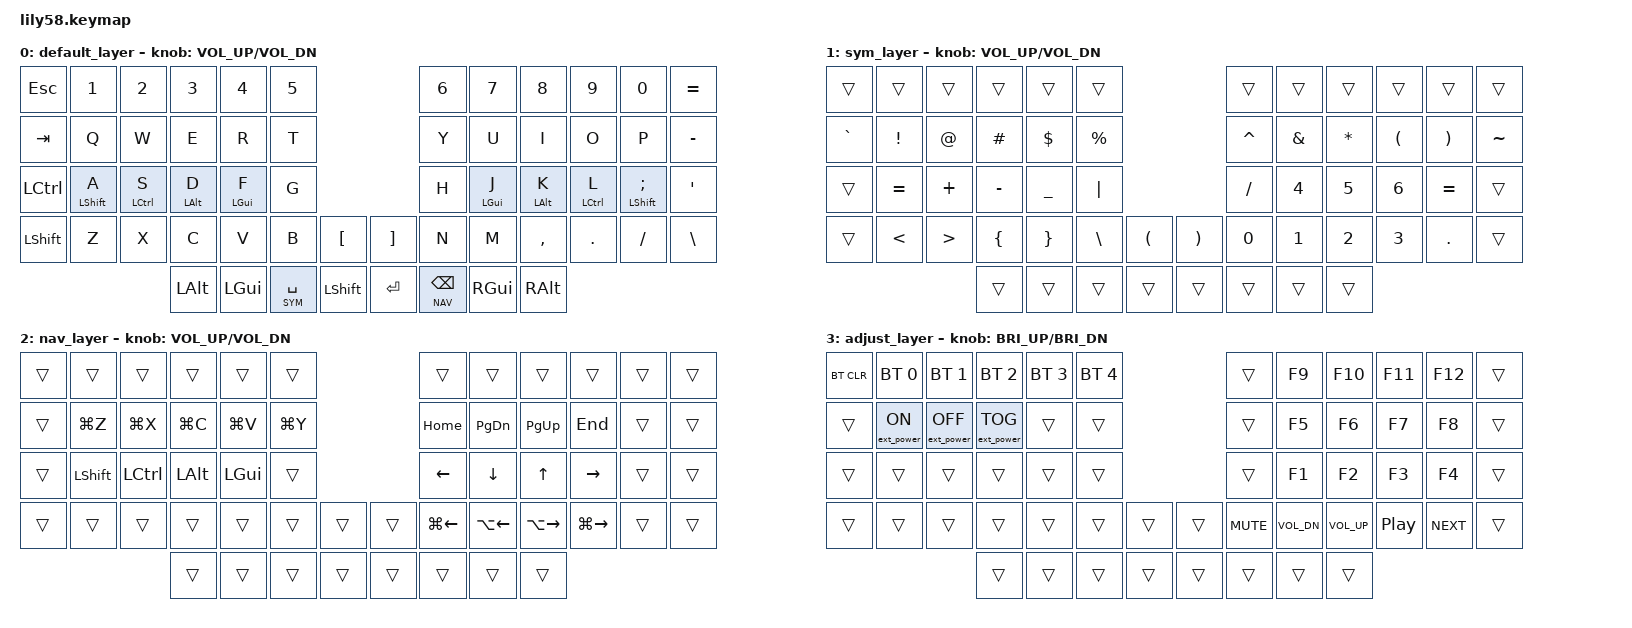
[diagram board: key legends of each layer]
/*
 * Lily58 keymap — оптимизирован для Mac + vim + программирование
 *
 * Главные отличия от старой версии:
 *   - Home row mods на ASDF/JKL; (Shift/Ctrl/Alt/Cmd)
 *   - Переделан thumb cluster: убран MINUS, добавлен Shift на большой палец
 *   - Tri-layer: держишь оба слоя (Sym + Nav) = попадаешь в Adjust (F-keys, BT)
 *   - Сломанное combo удалено
 *   - Слои больше не дублируются
 *
 */

#include <behaviors.dtsi>
#include <dt-bindings/zmk/bt.h>
#include <dt-bindings/zmk/ext_power.h>
#include <dt-bindings/zmk/keys.h>

// Названия слоёв — чтобы ниже читалось как текст, а не как числа
#define BASE    0
#define SYM     1
#define NAV     2
#define ADJUST  3

/ {
    /*
     * Conditional layers: когда активны одновременно SYM и NAV,
     * включается ADJUST. Удобно: один лишний слой без отдельной клавиши.
     */
    conditional_layers {
        compatible = "zmk,conditional-layers";

        tri_layer {
            if-layers = <SYM NAV>;
            then-layer = <ADJUST>;
        };
    };

    behaviors {
        /*
         * Home Row Mods — модификаторы при УДЕРЖАНИИ букв домашнего ряда.
         *
         * tapping-term-ms = 200       — держишь дольше = модификатор
         * quick-tap-ms = 175          — повторное нажатие в этот срок = тап (для aaaa)
         * require-prior-idle-ms = 150 — если только что печатал, мод не сработает
         *                               (защита от случайных Shift при быстрой печати)
         * flavor = "balanced"         — компромисс: срабатывает как мод, если второй
         *                               ключ нажат И отпущен после tapping-term.
         *                               Лучший режим для HRM на practice.
         *
         * Если через неделю будут ложные срабатывания — увеличь tapping-term
         * до 220-250. Если наоборот, моды не успевают — уменьши до 180.
         */
        hml: home_row_mod_left {
            compatible = "zmk,behavior-hold-tap";
            label = "HOME_ROW_MOD_LEFT";
            #binding-cells = <2>;
            tapping-term-ms = <200>;
            quick-tap-ms = <175>;
            require-prior-idle-ms = <150>;
            flavor = "balanced";
            bindings = <&kp>, <&kp>;
            // Ограничиваем какие клавиши могут триггерить мод — только правая рука.
            // Это сильно уменьшает ложные срабатывания (ты не держишь Shift букв
            // из той же руки).
            hold-trigger-key-positions = <
                 6  7  8  9 10 11
                18 19 20 21 22 23
                30 31 32 33 34 35
                43 44 45 46 47 48 49
                54 55 56 57
            >;
            hold-trigger-on-release;
        };

        hmr: home_row_mod_right {
            compatible = "zmk,behavior-hold-tap";
            label = "HOME_ROW_MOD_RIGHT";
            #binding-cells = <2>;
            tapping-term-ms = <200>;
            quick-tap-ms = <175>;
            require-prior-idle-ms = <150>;
            flavor = "balanced";
            bindings = <&kp>, <&kp>;
            // Для правой руки — триггерят только клавиши левой
            hold-trigger-key-positions = <
                 0  1  2  3  4  5
                12 13 14 15 16 17
                24 25 26 27 28 29
                36 37 38 39 40 41 42
                50 51 52 53
            >;
            hold-trigger-on-release;
        };
    };

    combos {
        compatible = "zmk,combos";

        // Дополнительный Esc на J+K — удобно когда правая рука на home row в vim
        // и лень тянуться в левый верхний угол.
        combo_esc_jk {
            timeout-ms = <40>;
            key-positions = <32 33>;   // J и K на правой home row
            bindings = <&kp ESC>;
            layers = <BASE>;
        };
    };

    keymap {
        compatible = "zmk,keymap";

        /*
         * ┌─────┬─────┬─────┬─────┬─────┬─────┐                     ┌─────┬─────┬─────┬─────┬─────┬─────┐
         * │ ESC │  1  │  2  │  3  │  4  │  5  │                     │  6  │  7  │  8  │  9  │  0  │  =  │
         * ├─────┼─────┼─────┼─────┼─────┼─────┤                     ├─────┼─────┼─────┼─────┼─────┼─────┤
         * │ TAB │  Q  │  W  │  E  │  R  │  T  │                     │  Y  │  U  │  I  │  O  │  P  │  -  │
         * ├─────┼─────┼─────┼─────┼─────┼─────┤                     ├─────┼─────┼─────┼─────┼─────┼─────┤
         * │CTRL │ A/⇧ │ S/⌃ │ D/⌥ │ F/⌘ │  G  │                     │  H  │ J/⌘ │ K/⌥ │ L/⌃ │ ;/⇧ │  '  │
         * ├─────┼─────┼─────┼─────┼─────┼─────┼─────┐         ┌─────┼─────┼─────┼─────┼─────┼─────┼─────┤
         * │SHIFT│  Z  │  X  │  C  │  V  │  B  │  [  │         │  ]  │  N  │  M  │  ,  │  .  │  /  │  \  │
         * └─────┴─────┴─────┼─────┼─────┼─────┼─────┤         ├─────┼─────┼─────┼─────┼─────┴─────┴─────┘
         *                   │ ALT │ GUI │SPC/ │SHFT │         │ENTER│BSPC/│ GUI │ ALT │
         *                   │     │     │ SYM │     │         │     │ NAV │     │     │
         *                   └─────┴─────┴─────┴─────┘         └─────┴─────┴─────┴─────┘
         *
         * Нижний ряд с дополнительной inner column:
         *   - Левый inner ([) и правый inner (]) — для скобок в коде без слоёв.
         *   - Остальные модификаторы (Alt/Gui) симметрично слева и справа — чтобы
         *     Cmd+Shift+что-то комбинировалось двумя руками без захлёста.
         */
        default_layer {
            bindings = <
&kp ESC    &kp N1        &kp N2        &kp N3        &kp N4        &kp N5                          &kp N6     &kp N7        &kp N8        &kp N9         &kp N0          &kp EQUAL
&kp TAB    &kp Q         &kp W         &kp E         &kp R         &kp T                           &kp Y      &kp U         &kp I         &kp O          &kp P           &kp MINUS
&kp LCTRL  &hml LSHFT A  &hml LCTRL S  &hml LALT D   &hml LGUI F   &kp G                           &kp H      &hmr LGUI J   &hmr LALT K   &hmr LCTRL L   &hmr LSHFT SEMI &kp SQT
&kp LSHFT  &kp Z         &kp X         &kp C         &kp V         &kp B      &kp LBKT   &kp RBKT  &kp N      &kp M         &kp COMMA     &kp DOT        &kp FSLH        &kp BSLH
                                       &kp LALT      &kp LGUI      &lt SYM SPACE  &kp LSHFT  &kp RET  &lt NAV BSPC  &kp RGUI  &kp RALT
            >;

            sensor-bindings = <&inc_dec_kp C_VOL_UP C_VOL_DN>;
        };

        /*
         * SYM — всё для программирования. Левая рука — скобки, операторы,
         * шифт-символы. Правая — numpad-лэйаут для ввода чисел.
         *
         * ┌─────┬─────┬─────┬─────┬─────┬─────┐                     ┌─────┬─────┬─────┬─────┬─────┬─────┐
         * │     │     │     │     │     │     │                     │     │     │     │     │     │     │
         * ├─────┼─────┼─────┼─────┼─────┼─────┤                     ├─────┼─────┼─────┼─────┼─────┼─────┤
         * │  `  │  !  │  @  │  #  │  $  │  %  │                     │  ^  │  &  │  *  │  (  │  )  │  ~  │
         * ├─────┼─────┼─────┼─────┼─────┼─────┤                     ├─────┼─────┼─────┼─────┼─────┼─────┤
         * │     │  =  │  +  │  -  │  _  │  |  │                     │  /  │  4  │  5  │  6  │  =  │     │
         * ├─────┼─────┼─────┼─────┼─────┼─────┼─────┐         ┌─────┼─────┼─────┼─────┼─────┼─────┼─────┤
         * │     │  <  │  >  │  {  │  }  │  \  │  (  │         │  )  │  0  │  1  │  2  │  3  │  .  │     │
         * └─────┴─────┴─────┼─────┼─────┼─────┼─────┤         ├─────┼─────┼─────┼─────┼─────┴─────┴─────┘
         *                   │     │     │ ▓▓▓ │     │         │     │     │     │     │
         *                   └─────┴─────┴─────┴─────┘         └─────┴─────┴─────┴─────┘
         */
        sym_layer {
            bindings = <
&trans     &trans        &trans     &trans     &trans         &trans                       &trans      &trans    &trans    &trans    &trans    &trans
&kp GRAVE  &kp EXCL      &kp AT     &kp HASH   &kp DOLLAR     &kp PRCNT                    &kp CARET   &kp AMPS  &kp ASTRK &kp LPAR  &kp RPAR  &kp TILDE
&trans     &kp EQUAL     &kp PLUS   &kp MINUS  &kp UNDERSCORE &kp PIPE                     &kp FSLH    &kp N4    &kp N5    &kp N6    &kp EQUAL &trans
&trans     &kp LT        &kp GT     &kp LBRC   &kp RBRC       &kp BSLH  &kp LPAR  &kp RPAR &kp N0      &kp N1    &kp N2    &kp N3    &kp DOT   &trans
                                    &trans     &trans         &trans    &trans    &trans   &trans      &trans    &trans
            >;

            sensor-bindings = <&inc_dec_kp C_VOL_UP C_VOL_DN>;
        };

        /*
         * NAV — навигация в духе vim, работает везде в системе.
         *
         * ┌─────┬─────┬─────┬─────┬─────┬─────┐                     ┌─────┬─────┬─────┬─────┬─────┬─────┐
         * │     │     │     │     │     │     │                     │     │     │     │     │     │     │
         * ├─────┼─────┼─────┼─────┼─────┼─────┤                     ├─────┼─────┼─────┼─────┼─────┼─────┤
         * │     │ ⌘Z  │ ⌘X  │ ⌘C  │ ⌘V  │ ⌘Y  │                     │Home │PgDn │PgUp │ End │     │     │
         * ├─────┼─────┼─────┼─────┼─────┼─────┤                     ├─────┼─────┼─────┼─────┼─────┼─────┤
         * │     │ Shft│Ctrl │ Alt │ Cmd │     │                     │  ←  │  ↓  │  ↑  │  →  │     │     │
         * ├─────┼─────┼─────┼─────┼─────┼─────┼─────┐         ┌─────┼─────┼─────┼─────┼─────┼─────┼─────┤
         * │     │     │     │     │     │     │     │         │     │ ⌘←  │ ⌥←  │ ⌥→  │ ⌘→  │     │     │
         * └─────┴─────┴─────┼─────┼─────┼─────┼─────┤         ├─────┼─────┼─────┼─────┼─────┴─────┴─────┘
         *                   │     │     │     │     │         │     │ ▓▓▓ │     │     │
         *                   └─────┴─────┴─────┴─────┘         └─────┴─────┴─────┴─────┘
         *
         * Hot tip: держи NAV (правый большой палец) + жми ⌘← правой — прыжок в
         * начало строки без снятия руки с home row. Reverse для конца.
         */
        nav_layer {
            bindings = <
&trans     &trans         &trans         &trans         &trans         &trans                        &trans    &trans               &trans            &trans              &trans     &trans
&trans     &kp LG(Z)      &kp LG(X)      &kp LG(C)      &kp LG(V)      &kp LG(Y)                     &kp HOME  &kp PG_DN            &kp PG_UP         &kp END             &trans     &trans
&trans     &kp LSHFT      &kp LCTRL      &kp LALT       &kp LGUI       &trans                        &kp LEFT  &kp DOWN             &kp UP            &kp RIGHT           &trans     &trans
&trans     &trans         &trans         &trans         &trans         &trans  &trans      &trans    &kp LG(LEFT)  &kp LA(LEFT)  &kp LA(RIGHT)  &kp LG(RIGHT)  &trans  &trans
                                         &trans         &trans         &trans  &trans      &trans    &trans    &trans               &trans
            >;

            sensor-bindings = <&inc_dec_kp C_VOL_UP C_VOL_DN>;
        };

        /*
         * ADJUST — редко используемое: F-клавиши, Bluetooth, медиа, power.
         * Включается удержанием SYM + NAV одновременно.
         *
         * ┌─────┬─────┬─────┬─────┬─────┬─────┐                     ┌─────┬─────┬─────┬─────┬─────┬─────┐
         * │BTCLR│ BT0 │ BT1 │ BT2 │ BT3 │ BT4 │                     │     │ F9  │ F10 │ F11 │ F12 │     │
         * ├─────┼─────┼─────┼─────┼─────┼─────┤                     ├─────┼─────┼─────┼─────┼─────┼─────┤
         * │     │EP ON│EPOFF│EPTOG│     │     │                     │     │ F5  │ F6  │ F7  │ F8  │     │
         * ├─────┼─────┼─────┼─────┼─────┼─────┤                     ├─────┼─────┼─────┼─────┼─────┼─────┤
         * │     │     │     │     │     │     │                     │     │ F1  │ F2  │ F3  │ F4  │     │
         * ├─────┼─────┼─────┼─────┼─────┼─────┼─────┐         ┌─────┼─────┼─────┼─────┼─────┼─────┼─────┤
         * │     │     │     │     │     │     │     │         │     │Mute │VolDn│VolUp│Play │Next │     │
         * └─────┴─────┴─────┼─────┼─────┼─────┼─────┤         ├─────┼─────┼─────┼─────┼─────┴─────┴─────┘
         *                   │     │     │     │     │         │     │     │     │     │
         *                   └─────┴─────┴─────┴─────┘         └─────┴─────┴─────┴─────┘
         */
        adjust_layer {
            bindings = <
&bt BT_CLR        &bt BT_SEL 0      &bt BT_SEL 1       &bt BT_SEL 2       &bt BT_SEL 3  &bt BT_SEL 4                     &trans     &kp F9     &kp F10     &kp F11     &kp F12     &trans
&trans            &ext_power EP_ON  &ext_power EP_OFF  &ext_power EP_TOG  &trans        &trans                           &trans     &kp F5     &kp F6      &kp F7      &kp F8      &trans
&trans            &trans            &trans             &trans             &trans        &trans                           &trans     &kp F1     &kp F2      &kp F3      &kp F4      &trans
&trans            &trans            &trans             &trans             &trans        &trans     &trans     &trans     &kp C_MUTE &kp C_VOL_DN &kp C_VOL_UP &kp C_PP  &kp C_NEXT  &trans
                                                       &trans             &trans        &trans     &trans     &trans     &trans     &trans     &trans
            >;

            sensor-bindings = <&inc_dec_kp C_BRI_UP C_BRI_DN>;
        };
    };
};
